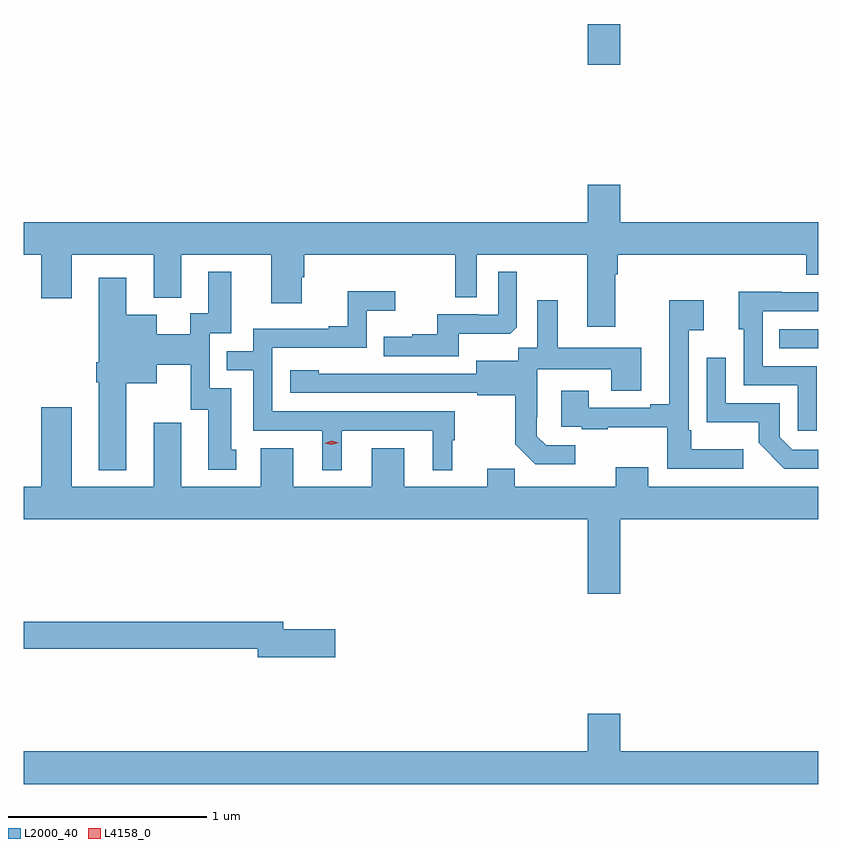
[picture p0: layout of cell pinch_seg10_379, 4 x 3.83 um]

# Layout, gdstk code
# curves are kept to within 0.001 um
import gdstk
lib = gdstk.Library(unit=1e-6, precision=1e-09)
def R(c, l, rs):  # rectangles x0, y0, x1, y1
    for r in rs: c.add(gdstk.rectangle(r[:2], r[2:], *l))
def P(c, l, *ps):  # polygons
    for p in ps: c.add(gdstk.Polygon(p, *l))
L2000_40 = (2000, 40)
L4158_0 = (4158, 0)

pinch_seg10_379 = lib.new_cell('pinch_seg10_379')
R(pinch_seg10_379, L2000_40, [(609.529,1266.546,609.724,1266.642), (608.564,1267.974,608.728,1268.179)])
P(pinch_seg10_379, L2000_40, [(608.701,1266.92),(608.714,1266.92),(608.714,1267.016),(609.665,1267.016),(609.665,1266.917),(609.724,1266.917),(609.724,1267.18),(608.728,1267.18),(608.728,1267.369),(608.564,1267.369),(608.564,1267.18),(605.724,1267.18),(605.724,1267.016),(605.813,1267.016),(605.813,1266.798),(605.965,1266.798),(605.965,1267.016),(606.377,1267.016),(606.377,1266.8),(606.517,1266.8),(606.517,1267.016),(606.971,1267.016),(606.971,1266.774),(607.123,1266.774),(607.123,1266.903),(607.136,1266.903),(607.136,1267.016),(607.896,1267.016),(607.896,1266.802),(608.004,1266.802),(608.004,1267.016),(608.561,1267.016),(608.561,1266.654),(608.701,1266.654)],
  [(607.915,1266.62),(608.173,1266.62),(608.205,1266.651),(608.205,1266.931),(608.112,1266.931),(608.112,1266.714),(608.012,1266.714),(608.012,1266.717),(607.805,1266.717),(607.805,1266.616),(607.681,1266.616),(607.681,1266.604),(607.537,1266.604),(607.537,1266.507),(607.915,1266.507)],
  [(606.241,1266.371),(606.394,1266.371),(606.394,1266.464),(606.564,1266.464),(606.564,1266.237),(606.653,1266.237),(606.653,1265.934),(606.793,1265.934),(606.793,1266.036),(606.769,1266.036),(606.769,1266.345),(606.66,1266.345),(606.66,1266.621),(606.769,1266.621),(606.769,1266.931),(606.653,1266.931),(606.653,1266.722),(606.563,1266.722),(606.563,1266.616),(606.394,1266.616),(606.394,1266.715),(606.241,1266.715),(606.241,1266.901),(606.101,1266.901),(606.101,1266.475),(606.089,1266.475),(606.089,1266.375),(606.101,1266.375),(606.101,1265.933),(606.241,1265.933)],
  [(607.324,1266.132),(607.784,1266.132),(607.784,1265.933),(607.882,1265.933),(607.882,1266.084),(607.894,1266.084),(607.894,1266.228),(606.975,1266.228),(606.975,1266.549),(607.452,1266.549),(607.452,1266.734),(607.594,1266.734),(607.594,1266.833),(607.354,1266.833),(607.354,1266.658),(607.259,1266.658),(607.259,1266.645),(606.879,1266.645),(606.879,1266.531),(606.745,1266.531),(606.745,1266.435),(606.879,1266.435),(606.879,1266.132),(607.226,1266.132),(607.226,1265.933),(607.324,1265.933)],
  [(609.717,1266.456),(609.444,1266.456),(609.444,1266.732),(609.724,1266.732),(609.724,1266.828),(609.541,1266.828),(609.541,1266.83),(609.323,1266.83),(609.323,1266.642),(609.348,1266.642),(609.348,1266.36),(609.621,1266.36),(609.621,1266.132),(609.717,1266.132)],
  [(608.5,1266.057),(608.355,1266.057),(608.308,1266.104),(608.308,1266.199),(608.31,1266.199),(608.31,1266.44),(608.681,1266.44),(608.681,1266.331),(608.833,1266.331),(608.833,1266.55),(608.413,1266.55),(608.413,1266.787),(608.309,1266.787),(608.309,1266.548),(608.214,1266.548),(608.214,1266.484),(608.003,1266.484),(608.003,1266.417),(607.209,1266.418),(607.209,1266.436),(607.065,1266.436),(607.065,1266.321),(608.007,1266.321),(608.007,1266.309),(608.199,1266.309),(608.199,1266.063),(608.299,1265.963),(608.5,1265.963)],
  [(609.346,1266.037),(609.085,1266.037),(609.085,1266.133),(609.072,1266.133),(609.072,1266.638),(609.148,1266.638),(609.148,1266.787),(608.975,1266.787),(608.975,1266.265),(608.879,1266.265),(608.879,1266.246),(608.569,1266.246),(608.569,1266.331),(608.429,1266.331),(608.429,1266.15),(608.533,1266.15),(608.533,1266.138),(608.665,1266.138),(608.665,1266.149),(608.964,1266.149),(608.964,1265.94),(609.346,1265.94)],
  [(609.724,1266.036),(609.594,1266.036),(609.531,1266.099),(609.531,1266.27),(609.258,1266.27),(609.258,1266.499),(609.162,1266.499),(609.162,1266.173),(609.424,1266.173),(609.424,1266.071),(609.554,1265.94),(609.724,1265.94)],
  [(605.813,1266.25),(605.813,1265.848),(605.724,1265.848),(605.724,1265.684),(608.564,1265.684),(608.564,1265.31),(608.728,1265.31),(608.728,1265.684),(609.724,1265.684),(609.724,1265.848),(608.869,1265.848),(608.869,1265.947),(608.705,1265.947),(608.705,1265.848),(608.195,1265.848),(608.195,1265.939),(608.057,1265.939),(608.057,1265.848),(607.639,1265.848),(607.639,1266.043),(607.475,1266.043),(607.475,1265.848),(607.081,1265.848),(607.081,1266.043),(606.917,1266.043),(606.917,1265.848),(606.517,1265.848),(606.517,1266.172),(606.377,1266.172),(606.377,1265.848),(605.965,1265.848),(605.965,1266.25)],
  [(607.291,1265.132),(607.03,1265.132),(607.03,1265.168),(605.724,1265.168),(605.724,1265.032),(606.902,1265.032),(606.902,1264.99),(607.291,1264.99)],
  [(609.724,1264.516),(608.728,1264.516),(608.728,1264.705),(608.564,1264.705),(608.564,1264.516),(605.724,1264.516),(605.724,1264.352),(609.724,1264.352)])
P(pinch_seg10_379, L4158_0, [(607.275,1266.06),(607.24,1266.068),(607.239,1266.068),(607.24,1266.069),(607.275,1266.08),(607.31,1266.071),(607.311,1266.071),(607.31,1266.07)])

lib.write_gds('pinch_seg10_379.gds')
